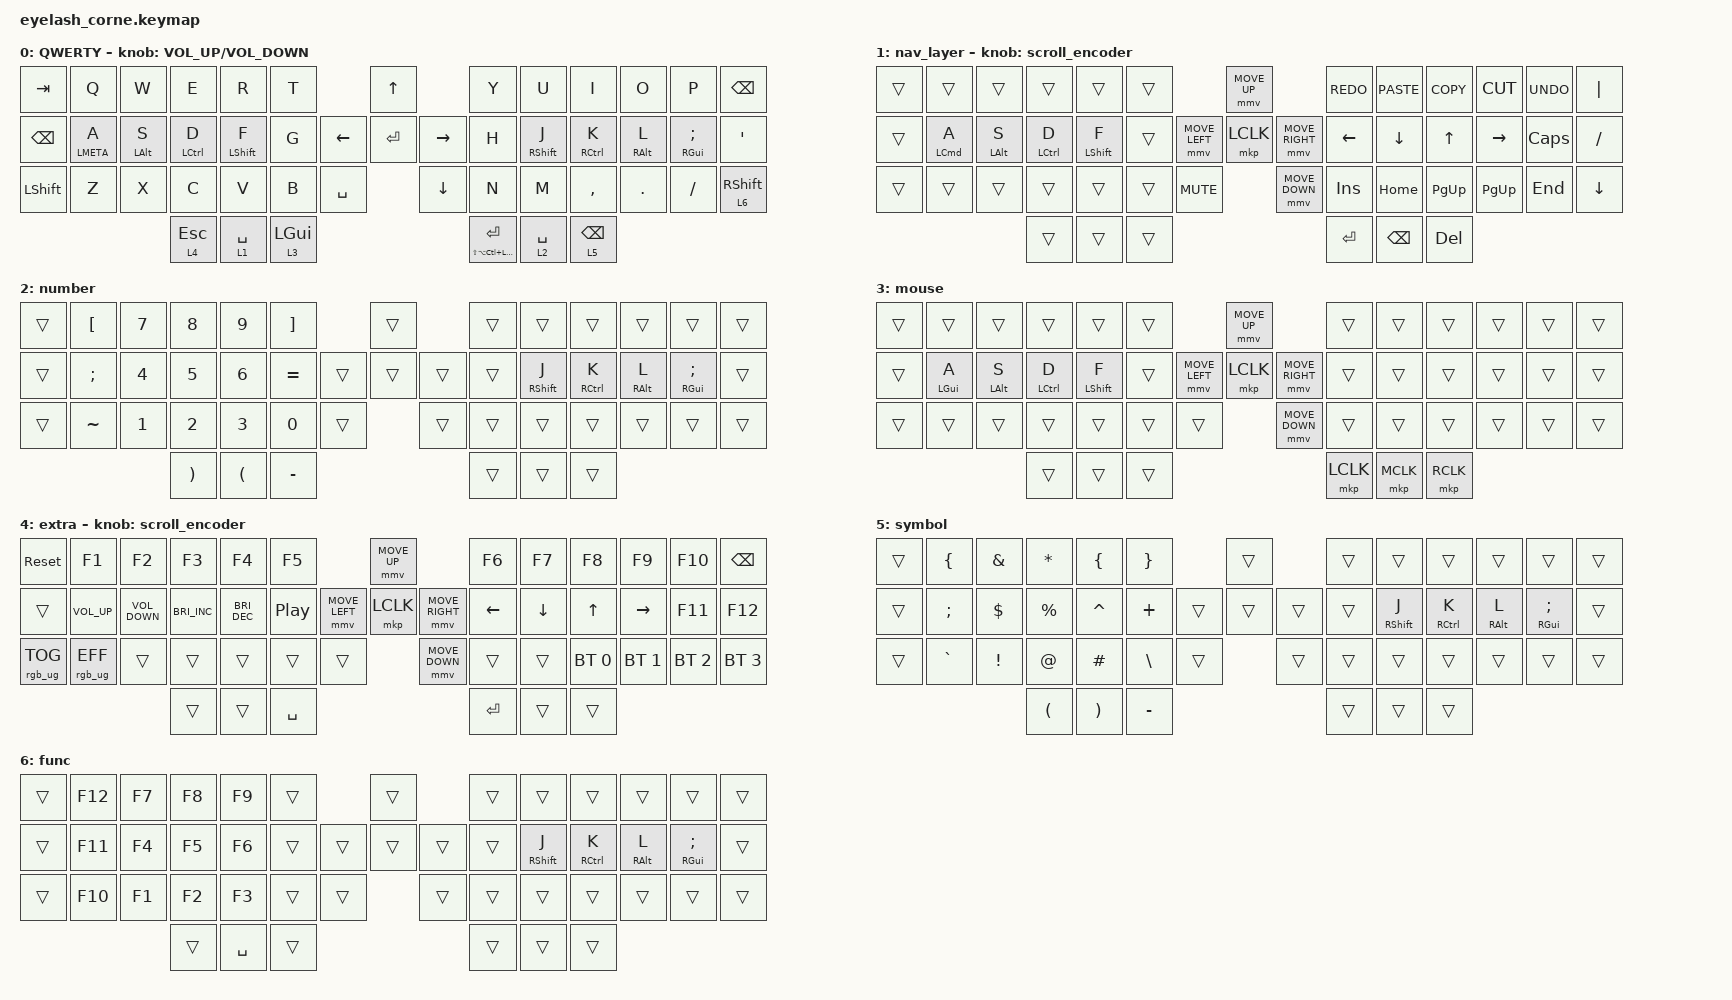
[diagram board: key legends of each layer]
#include <dt-bindings/zmk/mouse.h>
#include <input/processors.dtsi>
#include <behaviors.dtsi>
#include <dt-bindings/zmk/bt.h>
#include <dt-bindings/zmk/keys.h>
#include <dt-bindings/zmk/pointing.h>
#include <dt-bindings/zmk/pointing.h>
#include <dt-bindings/zmk/pointing.h>
#include <dt-bindings/zmk/rgb.h>

/*

   &mmv_input_listener {
       input-processors = <&zip_xy_scaler 2 1>;
   };

   &msc_input_listener {
       input-processors = <&zip_xy_scaler 2 1>;
   };

 */

#define ZMK_MOUSE_DEFAULT_MOVE_VAL 1200  // 600
#define ZMK_MOUSE_DEFAULT_SCRL_VAL 20    // 10

/ {
    behaviors {
        hmr: homerow_mods_right {
            compatible = "zmk,behavior-hold-tap";
            label = "HOMEROW_MODS_RIGHT_HAND";
            bindings = <&kp>, <&kp>;

            #binding-cells = <2>;
            tapping-term-ms = <200>;
            quick-tap-ms = <200>;
            require-prior-idle-ms = <125>;
            flavor = "tap-preferred";
            hold-trigger-key-positions = <0 1 3 2 18 5 17 16 4 15 14 13 28 29 30 31 32 33 34 44 43 42>;
        };

        hml: homerow_mods_left {
            compatible = "zmk,behavior-hold-tap";
            label = "HOMEROW_MODS_LEFT_HAND";
            bindings = <&kp>, <&kp>;

            #binding-cells = <2>;
            tapping-term-ms = <200>;
            quick-tap-ms = <200>;
            require-prior-idle-ms = <125>;
            flavor = "tap-preferred";
            hold-trigger-key-positions = <7 8 7 11 12 22 23 24 25 26 27 36 37 38 39 40 41 9 10 45 46 47>;
        };
    };

    rgb_encoder: rgb_encoder {
        compatible = "zmk,behavior-sensor-rotate";
        #sensor-binding-cells = <0>;
        bindings = <&rgb_ug RGB_BRI>, <&rgb_ug RGB_BRD>;
    };

    scroll_encoder: scroll_encoder {
        compatible = "zmk,behavior-sensor-rotate";
        #sensor-binding-cells = <0>;
        bindings = <&msc SCRL_DOWN>, <&msc SCRL_UP>;

        tap-ms = <30>;
    };

    keymap {
        compatible = "zmk,keymap";

        default_layer {
            display-name = "QWERTY";
            bindings = <
&kp TAB        &kp Q         &kp W        &kp E                &kp R          &kp T                                  &kp UP                &kp Y                       &kp U          &kp I                 &kp O             &kp P                &kp BACKSPACE
&kp BACKSPACE  &hml LMETA A  &hml LALT S  &hml LEFT_CONTROL D  &hml LSHIFT F  &kp G                        &kp LEFT  &kp ENTER  &kp RIGHT  &kp H                       &hmr RSHIFT J  &hmr RIGHT_CONTROL K  &hmr RIGHT_ALT L  &hmr RIGHT_GUI SEMI  &kp SQT
&kp LSHIFT     &kp Z         &kp X        &kp C                &kp V          &kp B           &kp SPACE              &kp DOWN              &kp N                       &kp M          &kp COMMA             &kp DOT           &kp FSLH             &lt 6 RSHIFT
                                          &lt 4 ESCAPE         &lt 1 SPACE    &lt 3 LEFT_GUI                                               &mt LS(LA(LC(LGUI))) ENTER  &lt 2 SPACE    &lt 5 BACKSPACE
            >;

            sensor-bindings = <&inc_dec_kp C_VOLUME_UP C_VOLUME_DOWN>;
        };

        nav_layer {
            display-name = "nav_layer";
            bindings = <
&trans  &trans               &trans           &trans               &trans             &trans                                &mmv MOVE_UP                     &kp K_REDO      &kp K_PASTE     &kp K_COPY    &kp K_CUT        &kp K_UNDO  &kp PIPE
&trans  &hml LEFT_COMMAND A  &hml LEFT_ALT S  &hml LEFT_CONTROL D  &hml LEFT_SHIFT F  &trans                &mmv MOVE_LEFT  &mkp LCLK       &mmv MOVE_RIGHT  &kp LEFT_ARROW  &kp DOWN_ARROW  &kp UP_ARROW  &kp RIGHT_ARROW  &kp CAPS    &kp SLASH
&trans  &trans               &trans           &trans               &trans             &trans  &kp C_MUTE                    &mmv MOVE_DOWN                   &kp INSERT      &kp HOME        &kp PAGE_UP   &kp PAGE_UP      &kp END     &kp DOWN
                                              &trans               &trans             &trans                                                                 &kp ENTER       &kp BACKSPACE   &kp DELETE
            >;

            sensor-bindings = <&scroll_encoder>;
        };

        num_layer {
            display-name = "number";
            bindings = <
&trans  &kp LEFT_BRACKET  &kp NUMBER_7  &kp NUMBER_8           &kp NUMBER_9          &kp RIGHT_BRACKET                    &trans          &trans  &trans         &trans                &trans            &trans               &trans
&trans  &kp SEMICOLON     &kp NUMBER_4  &kp NUMBER_5           &kp NUMBER_6          &kp EQUAL                    &trans  &trans  &trans  &trans  &hmr RSHIFT J  &hmr RIGHT_CONTROL K  &hmr RIGHT_ALT L  &hmr RGUI SEMICOLON  &trans
&trans  &kp TILDE         &kp NUMBER_1  &kp NUMBER_2           &kp NUMBER_3          &kp NUMBER_0       &trans            &trans          &trans  &trans         &trans                &trans            &trans               &trans
                                        &kp RIGHT_PARENTHESIS  &kp LEFT_PARENTHESIS  &kp MINUS                                            &trans  &trans         &trans
            >;
        };

        mouse_layer {
            display-name = "mouse";
            bindings = <
&trans  &trans       &trans           &trans               &trans        &trans                            &mmv MOVE_UP                     &trans     &trans     &trans     &trans  &trans  &trans
&trans  &hml LGUI A  &hml LEFT_ALT S  &hml LEFT_CONTROL D  &hml LSHFT F  &trans            &mmv MOVE_LEFT  &mkp LCLK       &mmv MOVE_RIGHT  &trans     &trans     &trans     &trans  &trans  &trans
&trans  &trans       &trans           &trans               &trans        &trans  &trans                    &mmv MOVE_DOWN                   &trans     &trans     &trans     &trans  &trans  &trans
                                      &trans               &trans        &trans                                                             &mkp LCLK  &mkp MCLK  &mkp RCLK
            >;
        };

        raise_layer {
            display-name = "extra";
            bindings = <
&sys_reset       &kp F1           &kp F2             &kp F3                &kp F4                &kp F5                                      &mmv MOVE_UP                     &kp F6    &kp F7    &kp F8        &kp F9        &kp F10       &kp BSPC
&trans           &kp C_VOLUME_UP  &kp C_VOLUME_DOWN  &kp C_BRIGHTNESS_INC  &kp C_BRIGHTNESS_DEC  &kp C_PLAY_PAUSE            &mmv MOVE_LEFT  &mkp LCLK       &mmv MOVE_RIGHT  &kp LEFT  &kp DOWN  &kp UP        &kp RIGHT     &kp F11       &kp F12
&rgb_ug RGB_TOG  &rgb_ug RGB_EFF  &trans             &trans                &trans                &trans            &trans                    &mmv MOVE_DOWN                   &trans    &trans    &bt BT_SEL 0  &bt BT_SEL 1  &bt BT_SEL 2  &bt BT_SEL 3
                                                     &trans                &trans                &kp SPACE                                                                    &kp RET   &trans    &trans
            >;

            sensor-bindings = <&scroll_encoder>;
        };

        sym_layer {
            display-name = "symbol";
            bindings = <
&trans  &kp LEFT_BRACE  &kp AMPERSAND    &kp STAR              &kp LEFT_BRACE         &kp RIGHT_BRACE                    &trans          &trans  &trans         &trans        &trans            &trans               &trans
&trans  &kp SEMICOLON   &kp DOLLAR       &kp PERCENT           &kp CARET              &kp PLUS                   &trans  &trans  &trans  &trans  &hmr RSHIFT J  &hmr RCTRL K  &hmr RIGHT_ALT L  &hmr RGUI SEMICOLON  &trans
&trans  &kp GRAVE       &kp EXCLAMATION  &kp AT_SIGN           &kp HASH               &kp BSLH         &trans            &trans          &trans  &trans         &trans        &trans            &trans               &trans
                                         &kp LEFT_PARENTHESIS  &kp RIGHT_PARENTHESIS  &kp MINUS                                          &trans  &trans         &trans
            >;
        };

        func_layer {
            display-name = "func";
            bindings = <
&trans  &kp F12  &kp F7  &kp F8  &kp F9     &trans                    &trans          &trans  &trans         &trans        &trans            &trans               &trans
&trans  &kp F11  &kp F4  &kp F5  &kp F6     &trans            &trans  &trans  &trans  &trans  &hmr RSHIFT J  &hmr RCTRL K  &hmr RIGHT_ALT L  &hmr RGUI SEMICOLON  &trans
&trans  &kp F10  &kp F1  &kp F2  &kp F3     &trans  &trans            &trans          &trans  &trans         &trans        &trans            &trans               &trans
                         &trans  &kp SPACE  &trans                                    &trans  &trans         &trans
            >;
        };
    };
};
